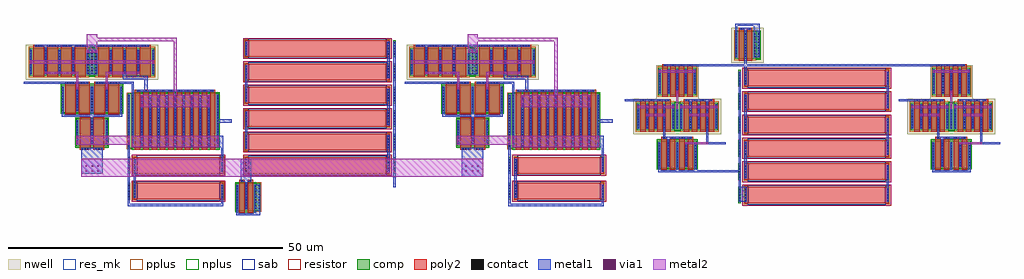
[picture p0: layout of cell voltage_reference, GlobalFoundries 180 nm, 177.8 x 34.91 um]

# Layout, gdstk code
from math import pi, radians
import gdstk
lib = gdstk.Library(unit=1e-6, precision=5e-09)
def R(c, l, rs):  # rectangles x0, y0, x1, y1
    for r in rs: c.add(gdstk.rectangle(r[:2], r[2:], *l))
def A(c, l, x, y, w, h, nx, ny, dx, dy):  # array of equal rectangles
    R(c, l, [(x+i*dx, y+j*dy, x+i*dx+w, y+j*dy+h) for i in range(nx) for j in range(ny)])
nwell = (21, 0)
comp = (22, 0)
poly2 = (30, 0)
pplus = (31, 0)
nplus = (32, 0)
contact = (33, 0)
metal1 = (34, 0)
via1 = (35, 0)
metal2 = (36, 0)
sab = (49, 0)
resistor = (62, 0)
res_mk = (110, 5)

nfet = lib.new_cell('nfet')
R(nfet, comp, [(-0.42,0,0,5), (0,0,4.9,5), (4.9,0,5.32,5)])
R(nfet, poly2, [(0.19,-0.3,2.19,5.3), (2.71,-0.3,4.71,5.3), (0.19,5.3,2.19,5.66), (2.71,5.3,4.71,5.66)])
R(nfet, nplus, [(-0.59,-0.24,5.49,5.24)])
A(nfet, contact, -0.32, 0.35, 0.22, 0.22, 3, 9, 2.66, 0.51)
A(nfet, contact, 0.57, 5.37, 0.22, 0.22, 3, 1, 0.51, 0)
A(nfet, contact, 3.09, 5.37, 0.22, 0.22, 3, 1, 0.51, 0)
A(nfet, metal1, -0.4, 0.27, 0.38, 4.46, 3, 1, 2.66, 0)
R(nfet, metal1, [(0.49,5.29,1.89,5.67), (3.01,5.29,4.41,5.67)])

pfet = lib.new_cell('pfet')
R(pfet, nwell, [(-1.15,-0.69,11.82,5.69)])
R(pfet, comp, [(-0.46,0,0,5), (0,0,9.94,5), (9.94,0,10.4,5), (10.4,0,11.13,5)])
A(pfet, poly2, 0.19, -0.3, 2, 5.6, 4, 1, 2.52, 0)
A(pfet, poly2, 0.19, 5.3, 2, 0.38, 4, 1, 2.52, 0)
R(pfet, pplus, [(-0.63,-0.24,10.4,5.24)])
R(pfet, nplus, [(10.4,-0.17,11.3,5.17)])
A(pfet, contact, -0.34, 0.35, 0.22, 0.22, 1, 9, 0, 0.51)
A(pfet, contact, 2.34, 0.35, 0.22, 0.22, 3, 9, 2.52, 0.51)
A(pfet, contact, 10.06, 0.35, 0.22, 0.22, 1, 9, 0, 0.51)
A(pfet, contact, 10.79, 0.35, 0.22, 0.22, 1, 9, 0, 0.51)
A(pfet, contact, 0.57, 5.38, 0.22, 0.22, 3, 1, 0.51, 0)
A(pfet, contact, 3.09, 5.38, 0.22, 0.22, 3, 1, 0.51, 0)
A(pfet, contact, 5.61, 5.38, 0.22, 0.22, 3, 1, 0.51, 0)
A(pfet, contact, 8.13, 5.38, 0.22, 0.22, 3, 1, 0.51, 0)
A(pfet, metal1, 2.26, 0.27, 0.38, 4.46, 3, 1, 2.52, 0)
A(pfet, metal1, 0.49, 5.3, 1.4, 0.38, 4, 1, 2.52, 0)
R(pfet, metal1, [(-0.42,0.27,-0.04,4.73), (9.98,0.27,10.36,4.73), (10.71,0.27,11.09,4.73)])

pfet_1 = lib.new_cell('pfet$1')
R(pfet_1, nwell, [(-1.15,-0.69,11.82,5.69)])
R(pfet_1, comp, [(-0.46,0,0,5), (0,0,9.94,5), (9.94,0,10.4,5), (10.4,0,11.13,5)])
A(pfet_1, poly2, 0.19, -0.68, 2, 0.38, 4, 1, 2.52, 0)
A(pfet_1, poly2, 0.19, -0.3, 2, 5.6, 4, 1, 2.52, 0)
R(pfet_1, pplus, [(-0.63,-0.24,10.4,5.24)])
R(pfet_1, nplus, [(10.4,-0.17,11.3,5.17)])
A(pfet_1, contact, 0.57, -0.6, 0.22, 0.22, 3, 1, 0.51, 0)
A(pfet_1, contact, 3.09, -0.6, 0.22, 0.22, 3, 1, 0.51, 0)
A(pfet_1, contact, 5.61, -0.6, 0.22, 0.22, 3, 1, 0.51, 0)
A(pfet_1, contact, 8.13, -0.6, 0.22, 0.22, 3, 1, 0.51, 0)
A(pfet_1, contact, -0.34, 0.35, 0.22, 0.22, 1, 9, 0, 0.51)
A(pfet_1, contact, 2.34, 0.35, 0.22, 0.22, 3, 9, 2.52, 0.51)
A(pfet_1, contact, 10.06, 0.35, 0.22, 0.22, 1, 9, 0, 0.51)
A(pfet_1, contact, 10.79, 0.35, 0.22, 0.22, 1, 9, 0, 0.51)
A(pfet_1, metal1, 0.49, -0.68, 1.4, 0.38, 4, 1, 2.52, 0)
A(pfet_1, metal1, 2.26, 0.27, 0.38, 4.46, 3, 1, 2.52, 0)
R(pfet_1, metal1, [(-0.42,0.27,-0.04,4.73), (9.98,0.27,10.36,4.73), (10.71,0.27,11.09,4.73)])

nfet_3 = lib.new_cell('nfet$3')
R(nfet_3, comp, [(-0.42,0,0,10), (0,0,15.06,10), (15.06,0,15.48,10), (15.48,0,16.19,10)])
A(nfet_3, poly2, 0.19, -0.66, 1, 0.36, 10, 1, 1.52, 0)
A(nfet_3, poly2, 0.19, -0.3, 1, 10.6, 10, 1, 1.52, 0)
R(nfet_3, pplus, [(15.48,-0.17,16.36,10.17)])
R(nfet_3, nplus, [(-0.59,-0.24,15.48,10.24)])
A(nfet_3, contact, 0.58, -0.59, 0.22, 0.22, 10, 1, 1.52, 0)
A(nfet_3, contact, -0.32, 0.3, 0.22, 0.22, 1, 19, 0, 0.51)
A(nfet_3, contact, 1.34, 0.3, 0.22, 0.22, 9, 19, 1.52, 0.51)
A(nfet_3, contact, 15.16, 0.3, 0.22, 0.22, 1, 19, 0, 0.51)
A(nfet_3, contact, 15.87, 0.3, 0.22, 0.22, 1, 19, 0, 0.51)
A(nfet_3, metal1, 0.5, -0.67, 0.38, 0.38, 10, 1, 1.52, 0)
A(nfet_3, metal1, 1.26, 0.22, 0.38, 9.56, 9, 1, 1.52, 0)
R(nfet_3, metal1, [(-0.4,0.22,-0.02,9.78), (15.08,0.22,15.46,9.78), (15.79,0.22,16.17,9.78)])

nfet_1 = lib.new_cell('nfet$1')
R(nfet_1, comp, [(-0.42,0,0,5), (0,0,4.9,5), (4.9,0,5.32,5)])
R(nfet_1, poly2, [(0.19,-0.66,2.19,-0.3), (2.71,-0.66,4.71,-0.3), (0.19,-0.3,2.19,5.3), (2.71,-0.3,4.71,5.3)])
R(nfet_1, nplus, [(-0.59,-0.24,5.49,5.24)])
A(nfet_1, contact, 0.57, -0.59, 0.22, 0.22, 3, 1, 0.51, 0)
A(nfet_1, contact, 3.09, -0.59, 0.22, 0.22, 3, 1, 0.51, 0)
A(nfet_1, contact, -0.32, 0.35, 0.22, 0.22, 3, 9, 2.66, 0.51)
A(nfet_1, metal1, -0.4, 0.27, 0.38, 4.46, 3, 1, 2.66, 0)
R(nfet_1, metal1, [(0.49,-0.67,1.89,-0.29), (3.01,-0.67,4.41,-0.29)])

ppolyf_u_high_rs_resisto = lib.new_cell('ppolyf_u_high_Rs_resistor')
R(ppolyf_u_high_rs_resisto, comp, [(-1.76,0,-1.34,3)])
R(ppolyf_u_high_rs_resisto, poly2, [(-0.64,0,15.64,3)])
R(ppolyf_u_high_rs_resisto, pplus, [(-0.82,-0.18,0,3.18), (15,-0.18,15.82,3.18), (-1.78,-0.02,-1.32,3.02)])
A(ppolyf_u_high_rs_resisto, contact, -1.66, 0.37, 0.22, 0.22, 1, 5, 0, 0.51)
A(ppolyf_u_high_rs_resisto, contact, -0.57, 0.37, 0.22, 0.22, 1, 5, 0, 0.51)
A(ppolyf_u_high_rs_resisto, contact, 15.35, 0.37, 0.22, 0.22, 1, 5, 0, 0.51)
R(ppolyf_u_high_rs_resisto, metal1, [(-1.74,0.29,-1.36,2.71), (-0.65,0.29,-0.27,2.71), (15.27,0.29,15.65,2.71)])
R(ppolyf_u_high_rs_resisto, sab, [(-0.1,-0.28,15.1,3.28)])
R(ppolyf_u_high_rs_resisto, resistor, [(-1.04,-0.4,16.04,3.4)])
R(ppolyf_u_high_rs_resisto, res_mk, [(0,0,15,3)])

nfet_2 = lib.new_cell('nfet$2')
R(nfet_2, comp, [(-0.42,0,0,5), (0,0,2.9,5), (2.9,0,3.32,5), (3.32,0,4.03,5)])
R(nfet_2, poly2, [(0.19,-0.3,1.19,5.3), (1.71,-0.3,2.71,5.3), (0.19,5.3,1.19,5.66), (1.71,5.3,2.71,5.66)])
R(nfet_2, pplus, [(3.32,-0.17,4.2,5.17)])
R(nfet_2, nplus, [(-0.59,-0.24,3.32,5.24)])
A(nfet_2, contact, -0.32, 0.35, 0.22, 0.22, 3, 9, 1.66, 0.51)
A(nfet_2, contact, 3.71, 0.35, 0.22, 0.22, 1, 9, 0, 0.51)
R(nfet_2, contact, [(0.58,5.37,0.8,5.59), (2.1,5.37,2.32,5.59)])
A(nfet_2, metal1, -0.4, 0.27, 0.38, 4.46, 3, 1, 1.66, 0)
R(nfet_2, metal1, [(3.63,0.27,4.01,4.73), (0.5,5.29,0.88,5.67), (2.02,5.29,2.4,5.67)])

c_ppolyf_u_high_rs_resisto = lib.new_cell('ppolyf_u_high_Rs_resistor$8')
R(c_ppolyf_u_high_rs_resisto, comp, [(-1.76,0,-1.34,3)])
R(c_ppolyf_u_high_rs_resisto, poly2, [(-0.64,0,25.64,3)])
R(c_ppolyf_u_high_rs_resisto, pplus, [(-0.82,-0.18,0,3.18), (25,-0.18,25.82,3.18), (-1.78,-0.02,-1.32,3.02)])
A(c_ppolyf_u_high_rs_resisto, contact, -1.66, 0.37, 0.22, 0.22, 1, 5, 0, 0.51)
A(c_ppolyf_u_high_rs_resisto, contact, -0.57, 0.37, 0.22, 0.22, 1, 5, 0, 0.51)
A(c_ppolyf_u_high_rs_resisto, contact, 25.35, 0.37, 0.22, 0.22, 1, 5, 0, 0.51)
R(c_ppolyf_u_high_rs_resisto, metal1, [(-1.74,0.29,-1.36,2.71), (-0.65,0.29,-0.27,2.71), (25.27,0.29,25.65,2.71)])
R(c_ppolyf_u_high_rs_resisto, sab, [(-0.1,-0.28,25.1,3.28)])
R(c_ppolyf_u_high_rs_resisto, resistor, [(-1.04,-0.4,26.04,3.4)])
R(c_ppolyf_u_high_rs_resisto, res_mk, [(0,0,25,3)])

pfet_5 = lib.new_cell('pfet$5')
R(pfet_5, nwell, [(-1.15,-0.69,4.78,5.69)])
R(pfet_5, comp, [(-0.46,0,0,5), (0,0,2.9,5), (2.9,0,3.36,5), (3.36,0,4.09,5)])
R(pfet_5, poly2, [(0.19,-0.3,1.19,5.3), (1.71,-0.3,2.71,5.3), (0.19,5.3,1.19,5.68), (1.71,5.3,2.71,5.68)])
R(pfet_5, pplus, [(-0.63,-0.24,3.36,5.24)])
R(pfet_5, nplus, [(3.36,-0.17,4.26,5.17)])
A(pfet_5, contact, -0.34, 0.35, 0.22, 0.22, 3, 9, 1.68, 0.51)
A(pfet_5, contact, 3.75, 0.35, 0.22, 0.22, 1, 9, 0, 0.51)
R(pfet_5, contact, [(0.58,5.38,0.8,5.6), (2.1,5.38,2.32,5.6)])
A(pfet_5, metal1, -0.42, 0.27, 0.38, 4.46, 3, 1, 1.68, 0)
R(pfet_5, metal1, [(3.67,0.27,4.05,4.73), (0.5,5.3,0.88,5.68), (2.02,5.3,2.4,5.68)])

pfet_3 = lib.new_cell('pfet$3')
R(pfet_3, nwell, [(-0.9,-0.44,6.84,5.44)])
R(pfet_3, comp, [(-0.46,0,0,5), (0,0,5.94,5), (5.94,0,6.4,5)])
A(pfet_3, poly2, 0.19, -0.3, 1, 5.6, 4, 1, 1.52, 0)
A(pfet_3, poly2, 0.19, 5.3, 1, 0.38, 4, 1, 1.52, 0)
R(pfet_3, pplus, [(-0.63,-0.24,6.57,5.24)])
A(pfet_3, contact, -0.34, 0.35, 0.22, 0.22, 1, 9, 0, 0.51)
A(pfet_3, contact, 1.34, 0.35, 0.22, 0.22, 3, 9, 1.52, 0.51)
A(pfet_3, contact, 6.06, 0.35, 0.22, 0.22, 1, 9, 0, 0.51)
A(pfet_3, contact, 0.58, 5.38, 0.22, 0.22, 4, 1, 1.52, 0)
A(pfet_3, metal1, 1.26, 0.27, 0.38, 4.46, 3, 1, 1.52, 0)
A(pfet_3, metal1, 0.5, 5.3, 0.38, 0.38, 4, 1, 1.52, 0)
R(pfet_3, metal1, [(-0.42,0.27,-0.04,4.73), (5.98,0.27,6.36,4.73)])

pfet_2 = lib.new_cell('pfet$2')
R(pfet_2, nwell, [(-1.15,-0.69,7.82,5.69)])
R(pfet_2, comp, [(-0.46,0,0,5), (0,0,5.94,5), (5.94,0,6.4,5), (6.4,0,7.13,5)])
A(pfet_2, poly2, 0.19, -0.3, 1, 5.6, 4, 1, 1.52, 0)
A(pfet_2, poly2, 0.19, 5.3, 1, 0.38, 4, 1, 1.52, 0)
R(pfet_2, pplus, [(-0.63,-0.24,6.4,5.24)])
R(pfet_2, nplus, [(6.4,-0.17,7.3,5.17)])
A(pfet_2, contact, -0.34, 0.35, 0.22, 0.22, 1, 9, 0, 0.51)
A(pfet_2, contact, 1.34, 0.35, 0.22, 0.22, 3, 9, 1.52, 0.51)
A(pfet_2, contact, 6.06, 0.35, 0.22, 0.22, 1, 9, 0, 0.51)
A(pfet_2, contact, 6.79, 0.35, 0.22, 0.22, 1, 9, 0, 0.51)
A(pfet_2, contact, 0.58, 5.38, 0.22, 0.22, 4, 1, 1.52, 0)
A(pfet_2, metal1, 1.26, 0.27, 0.38, 4.46, 3, 1, 1.52, 0)
A(pfet_2, metal1, 0.5, 5.3, 0.38, 0.38, 4, 1, 1.52, 0)
R(pfet_2, metal1, [(-0.42,0.27,-0.04,4.73), (5.98,0.27,6.36,4.73), (6.71,0.27,7.09,4.73)])

nfet_4 = lib.new_cell('nfet$4')
R(nfet_4, comp, [(-0.42,0,0,5), (0,0,2.9,5), (2.9,0,3.32,5)])
R(nfet_4, poly2, [(0.19,-0.3,1.19,5.3), (1.71,-0.3,2.71,5.3), (0.19,5.3,1.19,5.66), (1.71,5.3,2.71,5.66)])
R(nfet_4, nplus, [(-0.59,-0.24,3.49,5.24)])
A(nfet_4, contact, -0.32, 0.35, 0.22, 0.22, 3, 9, 1.66, 0.51)
R(nfet_4, contact, [(0.58,5.37,0.8,5.59), (2.1,5.37,2.32,5.59)])
A(nfet_4, metal1, -0.4, 0.27, 0.38, 4.46, 3, 1, 1.66, 0)
R(nfet_4, metal1, [(0.5,5.29,0.88,5.67), (2.02,5.29,2.4,5.67)])

voltage_reference = lib.new_cell('voltage_reference')
R(voltage_reference, nwell, [(119.74,23.305,127.48,23.545), (169.66,23.305,177.4,23.545)])
A(voltage_reference, metal1, 161.775, 4.585, 0.38, 6.68, 1, 3, 0, 8.52)
A(voltage_reference, metal1, 70.81, 10, 0.38, 6.68, 1, 3, 0, 8.52)
R(voltage_reference, metal1, [(46.55,2.11,47.64,7.655), (134.765,4.585,135.145,28.305), (134.765,4.585,136.25,7.295), (23.505,5.3,23.885,14.535), (24.595,5.3,24.975,12.44), (92.855,5.3,93.235,14.535), (93.945,5.3,94.325,12.44), (44.13,8.215,46.03,8.595), (44.13,8.595,46.03,12.42), (135.855,8.845,136.235,15.525), (84.38,9.165,88.3,14.385), (15.03,9.665,18.95,14.385), (71.9,10,72.28,33.72), (40.515,12.44,40.895,16.625), (109.865,12.44,110.245,16.625), (15.03,14.005,18.95,14.385), (84.38,14.005,88.3,14.385), (44.89,14.26,45.27,20.94), (40.075,14.535,40.515,16.63), (109.425,14.535,109.865,16.63), (121,16.02,126.22,16.4), (170.92,16.02,176.14,16.4), (135.855,17.365,136.235,24.045), (44.89,22.78,45.27,29.46), (117.21,22.915,122.15,23.295), (125.07,22.915,130.01,23.295), (167.13,22.915,172.07,23.295), (174.99,22.915,179.93,23.295), (25.115,24.605,39.175,24.985), (94.465,24.605,108.525,24.985), (12.37,26.105,16.29,26.485), (17.69,26.105,21.61,26.485), (81.72,26.105,85.64,26.485), (87.04,26.105,90.96,26.485), (16.07,27.805,17.91,32.265), (85.42,27.805,87.26,32.265), (121.14,29.285,126.08,29.665), (171.06,29.285,176,29.665), (137.535,30.88,138.645,35.34), (6.58,32.835,27.4,33.215), (75.93,32.835,96.75,33.215), (137.915,35.34,138.645,37.025), (135.095,35.91,136.995,36.29)])
A(voltage_reference, via1, 32.025, 22.11, 0.26, 0.26, 3, 2, 3.035, 0.8)
A(voltage_reference, via1, 101.375, 22.11, 0.26, 0.26, 3, 2, 3.035, 0.8)
A(voltage_reference, via1, 32.025, 23.64, 0.26, 0.26, 3, 1, 3.035, 0)
A(voltage_reference, via1, 101.375, 23.64, 0.26, 0.26, 3, 1, 3.035, 0)
R(voltage_reference, via1, [(44.475,9.42,44.735,9.68), (45.425,9.42,45.685,9.68), (15.815,10.03,16.075,10.29), (16.955,10.03,17.215,10.29), (17.985,10.03,18.245,10.29), (85.01,10.03,85.27,10.29), (86.15,10.03,86.41,10.29), (87.18,10.03,87.44,10.29), (44.475,10.56,44.735,10.82), (45.425,10.56,45.685,10.82), (15.815,10.98,16.075,11.24), (16.955,10.98,17.215,11.24), (17.985,10.98,18.245,11.24), (85.01,10.98,85.27,11.24), (86.15,10.98,86.41,11.24), (87.18,10.98,87.44,11.24), (44.475,11.59,44.735,11.85), (45.425,11.59,45.685,11.85), (24.285,14.595,24.545,14.855), (27.465,14.595,27.725,14.855), (30.49,14.595,30.75,14.855), (33.53,14.595,33.79,14.855), (36.58,14.595,36.84,14.855), (39.76,14.595,40.02,14.855), (93.635,14.595,93.895,14.855), (96.815,14.595,97.075,14.855), (99.84,14.595,100.1,14.855), (102.88,14.595,103.14,14.855), (105.93,14.595,106.19,14.855), (109.11,14.595,109.37,14.855), (125.14,15.14,125.4,15.4), (128.935,15.14,129.195,15.4), (175.06,15.14,175.32,15.4), (178.855,15.14,179.115,15.4), (14.2,15.395,14.46,15.655), (19.52,15.395,19.78,15.655), (23.545,15.395,23.805,15.655), (24.285,15.395,24.545,15.655), (27.465,15.395,27.725,15.655), (30.49,15.395,30.75,15.655), (33.53,15.395,33.79,15.655), (36.58,15.395,36.84,15.655), (39.76,15.395,40.02,15.655), (83.55,15.395,83.81,15.655), (88.87,15.395,89.13,15.655), (92.895,15.395,93.155,15.655), (93.635,15.395,93.895,15.655), (96.815,15.395,97.075,15.655), (99.84,15.395,100.1,15.655), (102.88,15.395,103.14,15.655), (105.93,15.395,106.19,15.655), (109.11,15.395,109.37,15.655), (14.2,16.125,14.46,16.385), (19.52,16.125,19.78,16.385), (23.545,16.125,23.805,16.385), (24.285,16.125,24.545,16.385), (27.465,16.125,27.725,16.385), (30.49,16.125,30.75,16.385), (33.53,16.125,33.79,16.385), (36.58,16.125,36.84,16.385), (39.76,16.125,40.02,16.385), (83.55,16.125,83.81,16.385), (88.87,16.125,89.13,16.385), (92.895,16.125,93.155,16.385), (93.635,16.125,93.895,16.385), (96.815,16.125,97.075,16.385), (99.84,16.125,100.1,16.385), (102.88,16.125,103.14,16.385), (105.93,16.125,106.19,16.385), (109.11,16.125,109.37,16.385), (118.025,20.19,118.285,20.45), (121.075,20.19,121.335,20.45), (125.885,20.19,126.145,20.45), (128.935,20.19,129.195,20.45), (167.945,20.19,168.205,20.45), (170.995,20.19,171.255,20.45), (175.805,20.19,176.065,20.45), (178.855,20.19,179.115,20.45), (116.345,21.65,116.605,21.91), (119.56,21.65,119.82,21.91), (122.765,21.65,123.025,21.91), (123.485,21.65,123.745,21.91), (124.215,21.65,124.475,21.91), (127.43,21.65,127.69,21.91), (130.635,21.65,130.895,21.91), (166.265,21.65,166.525,21.91), (169.48,21.65,169.74,21.91), (172.685,21.65,172.945,21.91), (173.405,21.65,173.665,21.91), (174.135,21.65,174.395,21.91), (177.35,21.65,177.61,21.91), (180.555,21.65,180.815,21.91), (25.93,22.11,26.19,22.37), (28.965,22.11,29.225,22.37), (95.28,22.11,95.54,22.37), (98.315,22.11,98.575,22.37), (25.93,22.91,26.19,23.17), (28.965,22.91,29.225,23.17), (95.28,22.91,95.54,23.17), (98.315,22.91,98.575,23.17), (25.93,23.64,26.19,23.9), (28.965,23.64,29.225,23.9), (95.28,23.64,95.54,23.9), (98.315,23.64,98.575,23.9), (123.485,24.35,123.745,24.61), (173.405,24.35,173.665,24.61), (14.2,25.225,14.46,25.485), (19.525,25.225,19.785,25.485), (83.55,25.225,83.81,25.485), (88.875,25.225,89.135,25.485), (8.405,27.93,8.665,28.19), (13.47,27.93,13.73,28.19), (77.755,27.93,78.015,28.19), (82.82,27.93,83.08,28.19), (20.27,27.94,20.53,28.2), (25.335,27.94,25.595,28.2), (89.62,27.94,89.88,28.2), (94.685,27.94,94.945,28.2), (120.275,28.15,120.535,28.41), (123.49,28.15,123.75,28.41), (126.695,28.15,126.955,28.41), (170.195,28.15,170.455,28.41), (173.41,28.15,173.67,28.41), (176.615,28.15,176.875,28.41), (5.725,29.88,5.985,30.14), (10.93,29.88,11.19,30.14), (16.13,29.88,16.39,30.14), (16.86,29.88,17.12,30.14), (17.595,29.88,17.855,30.14), (22.79,29.88,23.05,30.14), (27.995,29.88,28.255,30.14), (75.075,29.88,75.335,30.14), (80.28,29.88,80.54,30.14), (85.48,29.88,85.74,30.14), (86.21,29.88,86.47,30.14), (86.945,29.88,87.205,30.14), (92.14,29.88,92.4,30.14), (97.345,29.88,97.605,30.14), (16.13,31.93,16.39,32.19), (16.86,31.93,17.12,32.19), (17.595,31.93,17.855,32.19), (85.48,31.93,85.74,32.19), (86.21,31.93,86.47,32.19), (86.945,31.93,87.205,32.19)])
R(voltage_reference, metal2, [(15.03,9.165,88.3,12.42), (24.215,14.535,40.075,16.63), (93.565,14.535,109.425,16.63), (14.12,14.95,23.885,16.635), (83.47,14.95,93.235,16.635), (125.08,15.055,129.25,15.46), (175,15.055,179.17,15.46), (117.97,20.115,121.39,20.59), (125.83,20.115,129.25,20.59), (167.89,20.115,171.31,20.59), (175.75,20.115,179.17,20.59), (123.42,21.495,123.8,24.765), (173.34,21.495,173.72,24.765), (116.29,21.575,123.07,22.05), (124.16,21.575,130.94,22.05), (166.21,21.575,172.99,22.05), (174.08,21.575,180.86,22.05), (25.875,21.825,38.415,24.095), (95.225,21.825,107.765,24.095), (14.14,25.075,14.52,28.28), (19.46,25.075,19.84,28.28), (83.49,25.075,83.87,28.28), (88.81,25.075,89.19,28.28), (120.22,28.075,127,28.535), (170.14,28.075,176.92,28.535), (16.07,31.765,17.91,35.08), (85.42,31.765,87.26,35.08)])
voltage_reference.add(gdstk.FlexPath([(11.67,21.085),(11.67,20.22),(22.31,20.22),(22.31,21.085)], 0.38, ends="flush", simple_path=True, layer=34, datatype=0))  # metal1
voltage_reference.add(gdstk.FlexPath([(16.99,21.085),(16.99,20.41)], 0.38, ends="flush", simple_path=True, layer=34, datatype=0))  # metal1
voltage_reference.add(gdstk.FlexPath([(16.99,19.405),(16.99,20.03)], 0.38, ends="flush", simple_path=True, layer=34, datatype=0))  # metal1
voltage_reference.add(gdstk.FlexPath([(8.54,32.265),(8.54,32.835)], 0.38, ends="flush", simple_path=True, layer=34, datatype=0))  # metal1
voltage_reference.add(gdstk.FlexPath([(13.58,32.265),(13.58,32.835)], 0.38, ends="flush", simple_path=True, layer=34, datatype=0))  # metal1
voltage_reference.add(gdstk.FlexPath([(21.61,26.295),(24.405,26.295),(24.405,24.095)], 0.38, ends="flush", simple_path=True, layer=34, datatype=0))  # metal1
voltage_reference.add(gdstk.FlexPath([(22.92,27.805),(22.92,27.235),(26.825,27.235),(26.825,24.975)], 0.6, ends="flush", simple_path=True, layer=34, datatype=0))  # metal1
voltage_reference.add(gdstk.FlexPath([(40.075,19.315),(42.49,19.315)], 0.6, ends="flush", simple_path=True, layer=34, datatype=0))  # metal1
voltage_reference.add(gdstk.FlexPath([(12.37,26.295),(4.6,26.295)], 0.38, ends="flush", simple_path=True, layer=34, datatype=0))  # metal1
voltage_reference.add(gdstk.FlexPath([(72.09,10),(72.09,7.265)], 0.38, ends="flush", simple_path=True, layer=34, datatype=0))  # metal1
voltage_reference.add(gdstk.FlexPath([(40.705,5.3),(40.705,3.99),(23.695,3.99),(23.695,5.3)], 0.38, ends="flush", simple_path=True, layer=34, datatype=0))  # metal1
voltage_reference.add(gdstk.FlexPath([(81.02,21.085),(81.02,20.22),(91.66,20.22),(91.66,21.085)], 0.38, ends="flush", simple_path=True, layer=34, datatype=0))  # metal1
voltage_reference.add(gdstk.FlexPath([(86.34,21.085),(86.34,20.41)], 0.38, ends="flush", simple_path=True, layer=34, datatype=0))  # metal1
voltage_reference.add(gdstk.FlexPath([(86.34,19.405),(86.34,20.03)], 0.38, ends="flush", simple_path=True, layer=34, datatype=0))  # metal1
voltage_reference.add(gdstk.FlexPath([(77.89,32.265),(77.89,32.835)], 0.38, ends="flush", simple_path=True, layer=34, datatype=0))  # metal1
voltage_reference.add(gdstk.FlexPath([(82.93,32.265),(82.93,32.835)], 0.38, ends="flush", simple_path=True, layer=34, datatype=0))  # metal1
voltage_reference.add(gdstk.FlexPath([(90.96,26.295),(93.755,26.295),(93.755,24.095)], 0.38, ends="flush", simple_path=True, layer=34, datatype=0))  # metal1
voltage_reference.add(gdstk.FlexPath([(92.27,27.805),(92.27,27.235),(96.175,27.235),(96.175,24.975)], 0.6, ends="flush", simple_path=True, layer=34, datatype=0))  # metal1
voltage_reference.add(gdstk.FlexPath([(81.72,26.295),(73.95,26.295)], 0.38, ends="flush", simple_path=True, layer=34, datatype=0))  # metal1
voltage_reference.add(gdstk.FlexPath([(109.425,19.315),(111.84,19.315)], 0.6, ends="flush", simple_path=True, layer=34, datatype=0))  # metal1
voltage_reference.add(gdstk.FlexPath([(110.055,5.3),(110.055,3.99),(93.045,3.99),(93.045,5.3)], 0.38, ends="flush", simple_path=True, layer=34, datatype=0))  # metal1
voltage_reference.add(gdstk.FlexPath([(43.42,3.195),(43.42,2.3),(46.74,2.3),(46.74,3.195)], 0.38, ends="flush", simple_path=True, layer=34, datatype=0))  # metal1
voltage_reference.add(gdstk.FlexPath([(45.08,7.655),(45.08,8.215)], 0.38, ends="flush", simple_path=True, layer=34, datatype=0))  # metal1
voltage_reference.add(gdstk.FlexPath([(136.045,35.34),(136.045,35.91)], 0.38, ends="flush", simple_path=True, layer=34, datatype=0))  # metal1
voltage_reference.add(gdstk.FlexPath([(134.365,35.34),(134.365,36.835),(137.725,36.835),(137.725,35.34)], 0.38, ends="flush", simple_path=True, layer=34, datatype=0))  # metal1
voltage_reference.add(gdstk.FlexPath([(136.045,30.88),(136.045,28.305)], 0.38, ends="flush", simple_path=True, layer=34, datatype=0))  # metal1
voltage_reference.add(gdstk.FlexPath([(167.13,23.105),(163.97,23.105)], 0.38, ends="flush", simple_path=True, layer=34, datatype=0))  # metal1
voltage_reference.add(gdstk.FlexPath([(179.17,15.26),(182.4,15.26)], 0.38, ends="flush", simple_path=True, layer=34, datatype=0))  # metal1
voltage_reference.add(gdstk.FlexPath([(178.98,22.345),(178.98,22.915)], 0.38, ends="flush", simple_path=True, layer=34, datatype=0))  # metal1
voltage_reference.add(gdstk.FlexPath([(175.94,22.345),(175.94,22.915)], 0.38, ends="flush", simple_path=True, layer=34, datatype=0))  # metal1
voltage_reference.add(gdstk.FlexPath([(178.98,17.885),(178.98,15.055)], 0.38, ends="flush", simple_path=True, layer=34, datatype=0))  # metal1
voltage_reference.add(gdstk.FlexPath([(171.12,17.885),(171.12,16.4)], 0.38, ends="flush", simple_path=True, layer=34, datatype=0))  # metal1
voltage_reference.add(gdstk.FlexPath([(171.87,15.46),(171.87,16.02)], 0.38, ends="flush", simple_path=True, layer=34, datatype=0))  # metal1
voltage_reference.add(gdstk.FlexPath([(173.53,11),(173.53,10.345)], 0.38, ends="flush", simple_path=True, layer=34, datatype=0))  # metal1
voltage_reference.add(gdstk.FlexPath([(170.21,11),(170.21,10.155),(176.85,10.155),(176.85,11)], 0.38, ends="flush", simple_path=True, layer=34, datatype=0))  # metal1
voltage_reference.add(gdstk.FlexPath([(126.08,29.475),(135.855,29.475)], 0.38, ends="flush", simple_path=True, layer=34, datatype=0))  # metal1
voltage_reference.add(gdstk.FlexPath([(117.21,23.105),(114.05,23.105)], 0.38, ends="flush", simple_path=True, layer=34, datatype=0))  # metal1
voltage_reference.add(gdstk.FlexPath([(129.25,15.26),(132.48,15.26)], 0.38, ends="flush", simple_path=True, layer=34, datatype=0))  # metal1
voltage_reference.add(gdstk.FlexPath([(129.06,22.345),(129.06,22.915)], 0.38, ends="flush", simple_path=True, layer=34, datatype=0))  # metal1
voltage_reference.add(gdstk.FlexPath([(126.02,22.345),(126.02,22.915)], 0.38, ends="flush", simple_path=True, layer=34, datatype=0))  # metal1
voltage_reference.add(gdstk.FlexPath([(129.06,17.885),(129.06,15.055)], 0.38, ends="flush", simple_path=True, layer=34, datatype=0))  # metal1
voltage_reference.add(gdstk.FlexPath([(121.2,17.885),(121.2,16.4)], 0.38, ends="flush", simple_path=True, layer=34, datatype=0))  # metal1
voltage_reference.add(gdstk.FlexPath([(121.95,15.46),(121.95,16.02)], 0.38, ends="flush", simple_path=True, layer=34, datatype=0))  # metal1
voltage_reference.add(gdstk.FlexPath([(123.61,11),(123.61,10.345)], 0.38, ends="flush", simple_path=True, layer=34, datatype=0))  # metal1
voltage_reference.add(gdstk.FlexPath([(120.29,11),(120.29,10.155),(126.93,10.155),(126.93,11)], 0.38, ends="flush", simple_path=True, layer=34, datatype=0))  # metal1
voltage_reference.add(gdstk.FlexPath([(127.12,10.15),(134.765,10.15)], 0.38, ends="flush", simple_path=True, layer=34, datatype=0))  # metal1
voltage_reference.add(gdstk.FlexPath([(136.235,29.475),(171.06,29.475),(171.06,29.475)], 0.38, ends="flush", simple_path=True, layer=34, datatype=0))  # metal1
voltage_reference.add(gdstk.FlexPath([(14.14,28.06),(8.35,28.06)], 0.4, ends="flush", simple_path=True, layer=36, datatype=0))  # metal2
voltage_reference.add(gdstk.FlexPath([(19.84,28.035),(25.63,28.035)], 0.4, ends="flush", simple_path=True, layer=36, datatype=0))  # metal2
voltage_reference.add(gdstk.FlexPath([(5.67,30.035),(28.31,30.035)], 0.6, ends="flush", simple_path=True, layer=36, datatype=0))  # metal2
voltage_reference.add(gdstk.FlexPath([(32.145,24.095),(32.145,34.13),(17.91,34.13)], 0.6, ends="flush", simple_path=True, layer=36, datatype=0))  # metal2
voltage_reference.add(gdstk.FlexPath([(83.49,28.06),(77.7,28.06)], 0.4, ends="flush", simple_path=True, layer=36, datatype=0))  # metal2
voltage_reference.add(gdstk.FlexPath([(89.19,28.035),(94.98,28.035)], 0.4, ends="flush", simple_path=True, layer=36, datatype=0))  # metal2
voltage_reference.add(gdstk.FlexPath([(75.02,30.035),(97.66,30.035)], 0.6, ends="flush", simple_path=True, layer=36, datatype=0))  # metal2
voltage_reference.add(gdstk.FlexPath([(101.495,24.095),(101.495,34.13),(87.26,34.13)], 0.6, ends="flush", simple_path=True, layer=36, datatype=0))  # metal2
voltage_reference.add(gdstk.Reference(nfet, (11.88,20.815)))
voltage_reference.add(gdstk.Reference(nfet, (17.2,20.815)))
voltage_reference.add(gdstk.Reference(pfet, (6.09,27.535)))
voltage_reference.add(gdstk.Reference(pfet_1, (27.89,32.535), rotation=pi))
voltage_reference.add(gdstk.Reference(nfet_3, (39.675,24.315), rotation=pi))
voltage_reference.add(gdstk.Reference(nfet_1, (14.54,14.675)))
voltage_reference.add(gdstk.Reference(ppolyf_u_high_rs_resisto, (25.245,9.73)))
voltage_reference.add(gdstk.Reference(ppolyf_u_high_rs_resisto, (25.245,5.01)))
voltage_reference.add(gdstk.Reference(nfet, (81.23,20.815)))
voltage_reference.add(gdstk.Reference(nfet, (86.55,20.815)))
voltage_reference.add(gdstk.Reference(pfet, (75.44,27.535)))
voltage_reference.add(gdstk.Reference(pfet_1, (97.24,32.535), rotation=pi))
voltage_reference.add(gdstk.Reference(nfet_3, (109.025,24.315), rotation=pi))
voltage_reference.add(gdstk.Reference(nfet_1, (83.89,14.675)))
voltage_reference.add(gdstk.Reference(ppolyf_u_high_rs_resisto, (94.595,9.73)))
voltage_reference.add(gdstk.Reference(ppolyf_u_high_rs_resisto, (94.595,5.01)))
voltage_reference.add(gdstk.Reference(nfet_2, (43.63,2.925)))
voltage_reference.add(gdstk.Reference(c_ppolyf_u_high_rs_resisto, (70.54,9.71), rotation=pi, x_reflection=True))
voltage_reference.add(gdstk.Reference(c_ppolyf_u_high_rs_resisto, (70.54,13.97), rotation=pi, x_reflection=True))
voltage_reference.add(gdstk.Reference(c_ppolyf_u_high_rs_resisto, (70.54,18.23), rotation=pi, x_reflection=True))
voltage_reference.add(gdstk.Reference(c_ppolyf_u_high_rs_resisto, (70.54,22.49), rotation=pi, x_reflection=True))
voltage_reference.add(gdstk.Reference(c_ppolyf_u_high_rs_resisto, (70.54,26.75), rotation=pi, x_reflection=True))
voltage_reference.add(gdstk.Reference(c_ppolyf_u_high_rs_resisto, (70.54,31.01), rotation=pi, x_reflection=True))
voltage_reference.add(gdstk.Reference(pfet_5, (134.595,30.61)))
voltage_reference.add(gdstk.Reference(c_ppolyf_u_high_rs_resisto, (136.505,7.295), x_reflection=True))
voltage_reference.add(gdstk.Reference(c_ppolyf_u_high_rs_resisto, (136.505,11.555), x_reflection=True))
voltage_reference.add(gdstk.Reference(c_ppolyf_u_high_rs_resisto, (136.505,15.815), x_reflection=True))
voltage_reference.add(gdstk.Reference(c_ppolyf_u_high_rs_resisto, (136.505,20.075), x_reflection=True))
voltage_reference.add(gdstk.Reference(c_ppolyf_u_high_rs_resisto, (136.505,24.335), x_reflection=True))
voltage_reference.add(gdstk.Reference(c_ppolyf_u_high_rs_resisto, (136.505,28.595), x_reflection=True))
voltage_reference.add(gdstk.Reference(pfet_3, (170.56,23.985)))
voltage_reference.add(gdstk.Reference(pfet_2, (180.43,17.615), rotation=pi, x_reflection=True))
voltage_reference.add(gdstk.Reference(pfet_2, (166.63,17.615)))
voltage_reference.add(gdstk.Reference(nfet_4, (173.74,10.73)))
voltage_reference.add(gdstk.Reference(nfet_4, (170.42,10.73)))
voltage_reference.add(gdstk.Reference(pfet_3, (120.64,23.985)))
voltage_reference.add(gdstk.Reference(pfet_2, (130.51,17.615), rotation=pi, x_reflection=True))
voltage_reference.add(gdstk.Reference(nfet_4, (123.82,10.73)))
voltage_reference.add(gdstk.Reference(nfet_4, (120.5,10.73)))
voltage_reference.add(gdstk.Reference(pfet_2, (116.71,17.615)))

lib.write_gds('voltage_reference.gds')
